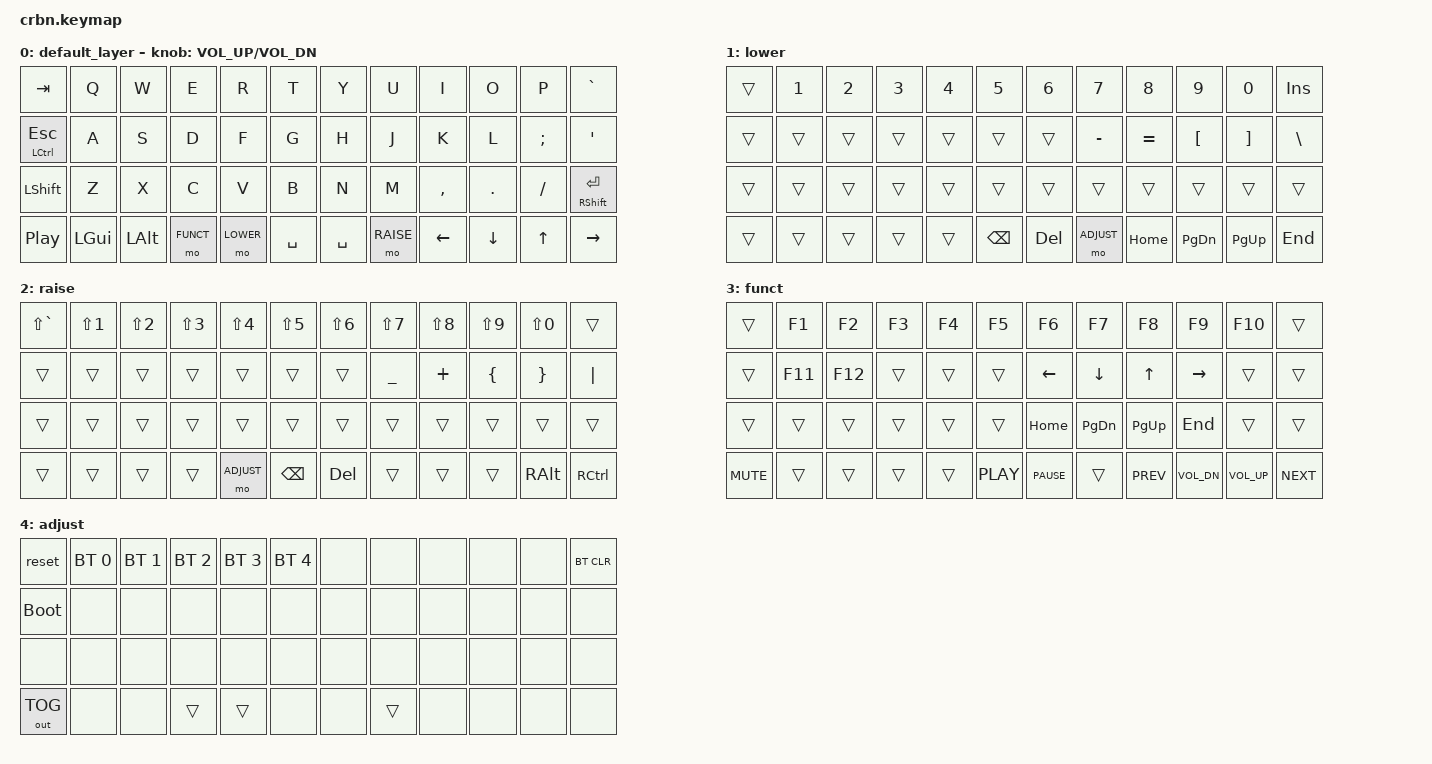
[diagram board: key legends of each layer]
/*
 * Copyright (c) 2020 The ZMK Contributors
 *
 * SPDX-License-Identifier: MIT
 */

#include <behaviors.dtsi>
#include <dt-bindings/zmk/keys.h>
#include <dt-bindings/zmk/bt.h>
#include <dt-bindings/zmk/outputs.h>

#define DEFAULT 0
#define LOWER 1
#define RAISE 2
#define FUNCT 3
#define ADJUST 4

/ {
  keymap {
    compatible = "zmk,keymap";

    default_layer {
      // default layer, querty style
      // -----------------------------------------------------------------------------------------
      // |  TAB  |  Q   |  W   |  E   |  R   |  T   |   Y   |  U    |  I   |  O   |   P   |  `    |
      // |CTL/ESC|  A   |  S   |  D   |  F   |  G   |   H   |  J    |  K   |  L   |   ;   |  '    |
      // | SHIFT |  Z   |  X   |  C   |  V   |  B   |   N   |  M    |  ,   |  .   |   /   |SHF/RET|
      // |  PP  | LGUI | LALT | LCTL | LOWR |SPACE | SPACE |  RAIS | LARW | DARW | UARW  |  RARW |
      bindings = <
        &kp TAB        &kp Q    &kp W    &kp E       &kp R     &kp T     &kp Y     &kp U     &kp I     &kp O    &kp P     &kp GRAVE
        &mt LCTRL ESC  &kp A    &kp S    &kp D       &kp F     &kp G     &kp H     &kp J     &kp K     &kp L    &kp SEMI  &kp SQT
        &kp LSHFT      &kp Z    &kp X    &kp C       &kp V     &kp B     &kp N     &kp M     &kp COMMA &kp DOT  &kp SLASH &mt RSHFT RET
        &kp C_PP       &kp LGUI &kp LALT &mo FUNCT   &mo LOWER &kp SPACE &kp SPACE &mo RAISE &kp LEFT  &kp DOWN &kp UP    &kp RIGHT
      >;
      sensor-bindings = <&inc_dec_kp C_VOL_UP C_VOL_DN>;
    };

    lower {
      // lower layer, probably used for simbols
      // -----------------------------------------------------------------------------------------
      // |       |  1   |  2   |  3   |  4   |  5   |   6   |  7    |  8   |  9   |   0   |  INS  |
      // |       |      |      |      |      |      |       |  -    |  =   |  [   |   ]   |  \    |
      // |       |      |      |      |      |      |       |       |      |      |       |       |
      // |       |      |      |      | LOWR | BSPC |  DEL  |  ADJ  | HOME | PDWN | PUP   |  END  |
      bindings = <
        &trans &kp N1 &kp N2 &kp N3 &kp N4 &kp N5   &kp N6   &kp N7       &kp N8       &kp N9    &kp N0    &kp INS
        &trans &trans &trans &trans &trans &trans   &trans   &kp MINUS    &kp EQUAL    &kp LBKT  &kp RBKT  &kp BSLH
        &trans &trans &trans &trans &trans &trans   &trans   &trans       &trans       &trans    &trans    &trans
        &trans &trans &trans &trans &trans &kp BSPC &kp DEL  &mo ADJUST   &kp HOME     &kp PG_DN &kp PG_UP &kp END
      >;
    };

    raise {
      // raise layer, probably used for simbols
      // -----------------------------------------------------------------------------------------
      // |       |  !   |  @   |  #   |  $   |  %   |   ^   |  &    |  *   |  (   |   )   |       |
      // |       |      |      |      |      |      |       |  _    |  +   |  {   |   }   |   |   |
      // |       |      |      |      |      |      |       |       |      |      |       |       |
      // |       |      |      |      | LOWR | BSPC |  DEL  |  ADJ  |      |      |       |       |
      bindings = <
        &kp LS(GRAVE) &kp LS(N1) &kp LS(N2) &kp LS(N3) &kp LS(N4) &kp LS(N5) &kp LS(N6) &kp LS(N7) &kp LS(N8) &kp LS(N9) &kp LS(N0) &trans
        &trans        &trans     &trans     &trans     &trans     &trans     &trans     &kp UNDER  &kp PLUS   &kp LBRC   &kp RBRC   &kp PIPE
        &trans        &trans     &trans     &trans     &trans     &trans     &trans     &trans     &trans     &trans     &trans     &trans
        &trans        &trans     &trans     &trans     &mo ADJUST &kp BSPC   &kp DEL    &trans     &trans     &trans     &kp RALT     &kp RCTRL
      >;
    };

    funct {
      // funct layer, probably used for F#, navigation and media commands
      // -----------------------------------------------------------------------------------------
      // |       |  F1  |  F2  |  F3  |  F4  |  F5  |   F6  |  F7   |  F8  |  F9  |  F10  |       |
      // |       |  F11 |  F12 |      |      |      |       |       |      |      |       |       |
      // |       |      |      |      |      |      |       |       |      |      |       |       |
      // | MUTE  |      |      |      |      | PLAY | PAUSE |       | PREV | VOLUP| VOLDWN| NEXT  |
      bindings = <
        &trans     &kp F1  &kp F2  &kp F3 &kp F4 &kp F5     &kp F6      &kp F7    &kp F8     &kp F9       &kp F10      &trans
        &trans     &kp F11 &kp F12 &trans &trans &trans     &kp LEFT    &kp DOWN  &kp UP     &kp RIGHT    &trans       &trans
        &trans     &trans  &trans  &trans &trans &trans     &kp HOME    &kp PG_DN &kp PG_UP  &kp END      &trans       &trans
        &kp C_MUTE &trans  &trans  &trans &trans &kp C_PLAY &kp C_PAUSE &trans    &kp C_PREV &kp C_VOL_DN &kp C_VOL_UP &kp C_NEXT
      >;
    };

    adjust {
      // control layer, probably used keyboard and bluetooth commands
      // -----------------------------------------------------------------------------------------
      // |RESET  | BL_0 | BL_1 | BL_2 | BL_3 | BL_4 |       |       |      |      |       | BT_CLR|
      // |BOOTLD |      |      |      |      |      |       |       |      |      |       |       |
      // |       |      |      |      |      |      |       |       |      |      |       |       |
      // |OUT_TOG|      |      |      |      |      |       |       |      |      |       |       |
      bindings = <
        &reset       &bt BT_SEL 0 &bt BT_SEL 1 &bt BT_SEL 2 &bt BT_SEL 3 &bt BT_SEL 4 &none &none  &none &none &none &bt BT_CLR
        &bootloader  &none        &none        &none        &none        &none        &none &none  &none &none &none &none
        &none        &none        &none        &none        &none        &none        &none &none  &none &none &none &none
        &out OUT_TOG &none        &none        &trans       &trans       &none        &none &trans &none &none &none &none
      >;
    };
  };
};
